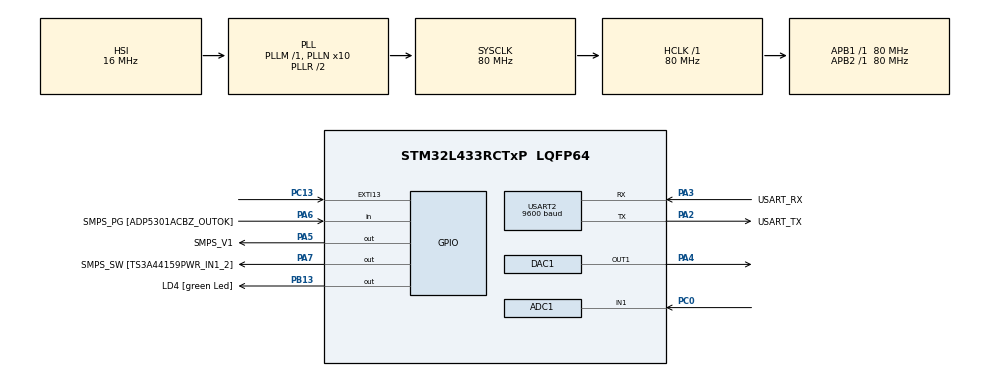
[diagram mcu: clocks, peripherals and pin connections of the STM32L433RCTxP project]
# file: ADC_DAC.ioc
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ADC1.Channel-3\#ChannelRegularConversion=ADC_CHANNEL_1
ADC1.NbrOfConversionFlag=1
ADC1.OffsetNumber-3\#ChannelRegularConversion=ADC_OFFSET_NONE
ADC1.Rank-3\#ChannelRegularConversion=1
ADC1.Resolution=ADC_RESOLUTION_12B
ADC1.SamplingTime-3\#ChannelRegularConversion=ADC_SAMPLETIME_2CYCLES_5
ADC1.master=1
Mcu.Family=STM32L4
Mcu.Name=STM32L433RCTxP
Mcu.Package=LQFP64
NVIC.ADC1_IRQn=true\:0\:0\:false\:false\:true\:true\:true\:true
NVIC.PriorityGroup=NVIC_PRIORITYGROUP_4
NVIC.TIM6_DAC_IRQn=true\:0\:0\:false\:false\:true\:true\:true\:true
NVIC.USART2_IRQn=true\:0\:0\:false\:false\:true\:true\:true\:true
PA13\ (JTMS-SWDIO).GPIO_Label=TMS
PA13\ (JTMS-SWDIO).Mode=Serial_Wire
PA13\ (JTMS-SWDIO).Signal=SYS_JTMS-SWDIO
PA14\ (JTCK-SWCLK).GPIO_Label=TCK
PA14\ (JTCK-SWCLK).Mode=Serial_Wire
PA14\ (JTCK-SWCLK).Signal=SYS_JTCK-SWCLK
PA2.GPIO_Label=USART_TX
PA2.GPIO_Mode=GPIO_MODE_AF_PP
PA2.GPIO_PuPd=GPIO_NOPULL
PA2.GPIO_Speed=GPIO_SPEED_FREQ_VERY_HIGH
PA2.Mode=Asynchronous
PA2.Signal=USART2_TX
PA3.GPIO_Label=USART_RX
PA3.GPIO_Mode=GPIO_MODE_AF_PP
PA3.GPIO_PuPd=GPIO_NOPULL
PA3.GPIO_Speed=GPIO_SPEED_FREQ_VERY_HIGH
PA3.Mode=Asynchronous
PA3.Signal=USART2_RX
PA4.Signal=COMP_DAC11_group
PA5.GPIO_Label=SMPS_V1
PA5.GPIO_ModeDefaultOutputPP=GPIO_MODE_OUTPUT_PP
PA5.GPIO_PuPd=GPIO_NOPULL
PA5.GPIO_Speed=GPIO_SPEED_FREQ_LOW
PA5.Signal=GPIO_Output
PA6.GPIO_Label=SMPS_PG [ADP5301ACBZ_OUTOK]
PA6.GPIO_PuPd=GPIO_PULLUP
PA6.Signal=GPIO_Input
PA7.GPIO_Label=SMPS_SW [TS3A44159PWR_IN1_2]
PA7.Signal=GPIO_Output
PB13.GPIO_Label=LD4 [green Led]
PB13.Signal=GPIO_Output
PB3\ (JTDO-TRACESWO).GPIO_Label=SWO
PB3\ (JTDO-TRACESWO).Signal=SYS_JTDO-SWO
PC0.Signal=ADCx_IN1
PC13.GPIO_ModeDefaultEXTI=GPIO_MODE_IT_RISING
PC13.Signal=GPXTI13
PC14-OSC32_IN\ (PC14).Mode=LSE-External-Oscillator
PC14-OSC32_IN\ (PC14).Signal=RCC_OSC32_IN
PC15-OSC32_OUT\ (PC15).Mode=LSE-External-Oscillator
PC15-OSC32_OUT\ (PC15).Signal=RCC_OSC32_OUT
PH0-OSC_IN\ (PH0).GPIO_Label=MCO
PH0-OSC_IN\ (PH0).Mode=HSE-External-Clock-Source
PH0-OSC_IN\ (PH0).Signal=RCC_OSC_IN
PH1-OSC_OUT\ (PH1).Signal=RCC_OSC_OUT
ProjectManager.HeapSize=0x200
ProjectManager.StackSize=0x400
ProjectManager.TargetToolchain=EWARM V8.32
RCC.ADCFreq_Value=64000000
RCC.AHBFreq_Value=80000000
RCC.APB1Freq_Value=80000000
RCC.APB1TimFreq_Value=80000000
RCC.APB2Freq_Value=80000000
RCC.APB2TimFreq_Value=80000000
RCC.CortexFreq_Value=80000000
RCC.HCLKFreq_Value=80000000
RCC.HSE_VALUE=8000000
RCC.HSI48_VALUE=48000000
RCC.HSI_VALUE=16000000
RCC.MSI_VALUE=4000000
RCC.PLLN=10
RCC.PLLSourceVirtual=RCC_PLLSOURCE_HSI
RCC.PREFETCH_ENABLE=1
RCC.SYSCLKFreq_VALUE=80000000
RCC.SYSCLKSource=RCC_SYSCLKSOURCE_PLLCLK
RCC.USBFreq_Value=64000000
RCC.VCOOutputFreq_Value=160000000
SH.ADCx_IN1.0=ADC1_IN1,IN1-Single-Ended
SH.COMP_DAC11_group.0=DAC1_OUT1,DAC_OUT1
USART2.BaudRate=9600
USART2.VirtualMode-Asynchronous=VM_ASYNC
board=NUCLEO-L433RC-P

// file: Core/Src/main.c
/* USER CODE BEGIN Header */
/**
******************************************************************************
* @file           : main.c
* @brief          : Main program body
******************************************************************************
* @attention
*
* Copyright (c) 2022 STMicroelectronics.
* All rights reserved.
*
* This software is licensed under terms that can be found in the LICENSE file
* in the root directory of this software component.
* If no LICENSE file comes with this software, it is provided AS-IS.
*
******************************************************************************
*/
/* USER CODE END Header */
#include "main.h"

ADC_HandleTypeDef hadc1;

DAC_HandleTypeDef hdac1;

UART_HandleTypeDef huart2;

void SystemClock_Config(void);
static void MX_GPIO_Init(void);
static void MX_USART2_UART_Init(void);
static void MX_ADC1_Init(void);
static void MX_DAC1_Init(void);

/* USER CODE BEGIN 0 */
uint32_t Dac_value  = 0;
uint8_t adc_conv_flag =0;

double V_value=0;

uint8_t V_value_str[12]=0;
unsigned int adc_data=0;

void HAL_ADC_ConvCpltCallback(ADC_HandleTypeDef *hadc){
  adc_conv_flag =1;
  adc_data = HAL_ADC_GetValue(&hadc1);
  Dac_value = adc_data;
  V_value = adc_data * 0.000805; //12bit  분해능  /  3.3v  1당 0.000805...

}

/* USER CODE END 0 */

int main(void)
{

  /* MCU Configuration--------------------------------------------------------*/

  /* Reset of all peripherals, Initializes the Flash interface and the Systick. */
  HAL_Init();

  /* Configure the system clock */
  SystemClock_Config();

  /* Initialize all configured peripherals */
  MX_GPIO_Init();
  MX_USART2_UART_Init();
  MX_ADC1_Init();
  MX_DAC1_Init();

  /* Infinite loop */
  /* USER CODE BEGIN WHILE */

  HAL_ADC_Start_IT(&hadc1);

  while (1)
  {

    if(adc_conv_flag == 1){
      sprintf(V_value_str, "%lf V\r\n", V_value); // 실수를 문자열로 변환
      HAL_UART_Transmit(&huart2,V_value_str,12,100);

      adc_conv_flag =0;

      HAL_DAC_SetValue(&hdac1,DAC_CHANNEL_1,DAC_ALIGN_12B_R,Dac_value);
      HAL_DAC_Start(&hdac1,DAC_CHANNEL_1);

      HAL_ADC_Start_IT(&hadc1);
    }

    /* USER CODE END WHILE */

  }
}

void SystemClock_Config(void)
{
  RCC_OscInitTypeDef RCC_OscInitStruct = {0};
  RCC_ClkInitTypeDef RCC_ClkInitStruct = {0};

  /** Configure the main internal regulator output voltage
  */
  if (HAL_PWREx_ControlVoltageScaling(PWR_REGULATOR_VOLTAGE_SCALE1) != HAL_OK)
  {
    Error_Handler();
  }

  /** Initializes the RCC Oscillators according to the specified parameters
  * in the RCC_OscInitTypeDef structure.
  */
  RCC_OscInitStruct.OscillatorType = RCC_OSCILLATORTYPE_HSI;
  RCC_OscInitStruct.HSIState = RCC_HSI_ON;
  RCC_OscInitStruct.HSICalibrationValue = RCC_HSICALIBRATION_DEFAULT;
  RCC_OscInitStruct.PLL.PLLState = RCC_PLL_ON;
  RCC_OscInitStruct.PLL.PLLSource = RCC_PLLSOURCE_HSI;
  RCC_OscInitStruct.PLL.PLLM = 1;
  RCC_OscInitStruct.PLL.PLLN = 10;
  RCC_OscInitStruct.PLL.PLLP = RCC_PLLP_DIV7;
  RCC_OscInitStruct.PLL.PLLQ = RCC_PLLQ_DIV2;
  RCC_OscInitStruct.PLL.PLLR = RCC_PLLR_DIV2;
  if (HAL_RCC_OscConfig(&RCC_OscInitStruct) != HAL_OK)
  {
    Error_Handler();
  }

  /** Initializes the CPU, AHB and APB buses clocks
  */
  RCC_ClkInitStruct.ClockType = RCC_CLOCKTYPE_HCLK|RCC_CLOCKTYPE_SYSCLK
                              |RCC_CLOCKTYPE_PCLK1|RCC_CLOCKTYPE_PCLK2;
  RCC_ClkInitStruct.SYSCLKSource = RCC_SYSCLKSOURCE_PLLCLK;
  RCC_ClkInitStruct.AHBCLKDivider = RCC_SYSCLK_DIV1;
  RCC_ClkInitStruct.APB1CLKDivider = RCC_HCLK_DIV1;
  RCC_ClkInitStruct.APB2CLKDivider = RCC_HCLK_DIV1;

  if (HAL_RCC_ClockConfig(&RCC_ClkInitStruct, FLASH_LATENCY_4) != HAL_OK)
  {
    Error_Handler();
  }
}

static void MX_ADC1_Init(void)
{

  ADC_ChannelConfTypeDef sConfig = {0};

  /** Common config
  */
  hadc1.Instance = ADC1;
  hadc1.Init.ClockPrescaler = ADC_CLOCK_ASYNC_DIV1;
  hadc1.Init.Resolution = ADC_RESOLUTION_12B;
  hadc1.Init.DataAlign = ADC_DATAALIGN_RIGHT;
  hadc1.Init.ScanConvMode = ADC_SCAN_DISABLE;
  hadc1.Init.EOCSelection = ADC_EOC_SINGLE_CONV;
  hadc1.Init.LowPowerAutoWait = DISABLE;
  hadc1.Init.ContinuousConvMode = DISABLE;
  hadc1.Init.NbrOfConversion = 1;
  hadc1.Init.DiscontinuousConvMode = DISABLE;
  hadc1.Init.ExternalTrigConv = ADC_SOFTWARE_START;
  hadc1.Init.ExternalTrigConvEdge = ADC_EXTERNALTRIGCONVEDGE_NONE;
  hadc1.Init.DMAContinuousRequests = DISABLE;
  hadc1.Init.Overrun = ADC_OVR_DATA_PRESERVED;
  hadc1.Init.OversamplingMode = DISABLE;
  if (HAL_ADC_Init(&hadc1) != HAL_OK)
  {
    Error_Handler();
  }

  /** Configure Regular Channel
  */
  sConfig.Channel = ADC_CHANNEL_1;
  sConfig.Rank = ADC_REGULAR_RANK_1;
  sConfig.SamplingTime = ADC_SAMPLETIME_2CYCLES_5;
  sConfig.SingleDiff = ADC_SINGLE_ENDED;
  sConfig.OffsetNumber = ADC_OFFSET_NONE;
  sConfig.Offset = 0;
  if (HAL_ADC_ConfigChannel(&hadc1, &sConfig) != HAL_OK)
  {
    Error_Handler();
  }

}

static void MX_DAC1_Init(void)
{

  DAC_ChannelConfTypeDef sConfig = {0};

  /** DAC Initialization
  */
  hdac1.Instance = DAC1;
  if (HAL_DAC_Init(&hdac1) != HAL_OK)
  {
    Error_Handler();
  }

  /** DAC channel OUT1 config
  */
  sConfig.DAC_SampleAndHold = DAC_SAMPLEANDHOLD_DISABLE;
  sConfig.DAC_Trigger = DAC_TRIGGER_NONE;
  sConfig.DAC_OutputBuffer = DAC_OUTPUTBUFFER_ENABLE;
  sConfig.DAC_ConnectOnChipPeripheral = DAC_CHIPCONNECT_DISABLE;
  sConfig.DAC_UserTrimming = DAC_TRIMMING_FACTORY;
  if (HAL_DAC_ConfigChannel(&hdac1, &sConfig, DAC_CHANNEL_1) != HAL_OK)
  {
    Error_Handler();
  }

}

static void MX_USART2_UART_Init(void)
{

  huart2.Instance = USART2;
  huart2.Init.BaudRate = 9600;
  huart2.Init.WordLength = UART_WORDLENGTH_8B;
  huart2.Init.StopBits = UART_STOPBITS_1;
  huart2.Init.Parity = UART_PARITY_NONE;
  huart2.Init.Mode = UART_MODE_TX_RX;
  huart2.Init.HwFlowCtl = UART_HWCONTROL_NONE;
  huart2.Init.OverSampling = UART_OVERSAMPLING_16;
  huart2.Init.OneBitSampling = UART_ONE_BIT_SAMPLE_DISABLE;
  huart2.AdvancedInit.AdvFeatureInit = UART_ADVFEATURE_NO_INIT;
  if (HAL_UART_Init(&huart2) != HAL_OK)
  {
    Error_Handler();
  }

}

static void MX_GPIO_Init(void)
{
  GPIO_InitTypeDef GPIO_InitStruct = {0};

  /* GPIO Ports Clock Enable */
  __HAL_RCC_GPIOC_CLK_ENABLE();
  __HAL_RCC_GPIOH_CLK_ENABLE();
  __HAL_RCC_GPIOA_CLK_ENABLE();
  __HAL_RCC_GPIOB_CLK_ENABLE();

  /*Configure GPIO pin Output Level */
  HAL_GPIO_WritePin(GPIOA, SMPS_V1_Pin|SMPS_SW_Pin, GPIO_PIN_RESET);

  /*Configure GPIO pin Output Level */
  HAL_GPIO_WritePin(LD4_GPIO_Port, LD4_Pin, GPIO_PIN_RESET);

  /*Configure GPIO pin : PC13 */
  GPIO_InitStruct.Pin = GPIO_PIN_13;
  GPIO_InitStruct.Mode = GPIO_MODE_IT_RISING;
  GPIO_InitStruct.Pull = GPIO_NOPULL;
  HAL_GPIO_Init(GPIOC, &GPIO_InitStruct);

  /*Configure GPIO pins : SMPS_V1_Pin SMPS_SW_Pin */
  GPIO_InitStruct.Pin = SMPS_V1_Pin|SMPS_SW_Pin;
  GPIO_InitStruct.Mode = GPIO_MODE_OUTPUT_PP;
  GPIO_InitStruct.Pull = GPIO_NOPULL;
  GPIO_InitStruct.Speed = GPIO_SPEED_FREQ_LOW;
  HAL_GPIO_Init(GPIOA, &GPIO_InitStruct);

  /*Configure GPIO pin : SMPS_PG_Pin */
  GPIO_InitStruct.Pin = SMPS_PG_Pin;
  GPIO_InitStruct.Mode = GPIO_MODE_INPUT;
  GPIO_InitStruct.Pull = GPIO_PULLUP;
  HAL_GPIO_Init(SMPS_PG_GPIO_Port, &GPIO_InitStruct);

  /*Configure GPIO pin : LD4_Pin */
  GPIO_InitStruct.Pin = LD4_Pin;
  GPIO_InitStruct.Mode = GPIO_MODE_OUTPUT_PP;
  GPIO_InitStruct.Pull = GPIO_NOPULL;
  GPIO_InitStruct.Speed = GPIO_SPEED_FREQ_LOW;
  HAL_GPIO_Init(LD4_GPIO_Port, &GPIO_InitStruct);

}

void Error_Handler(void)
{
  __disable_irq();
  while (1)
  {
  }
}
